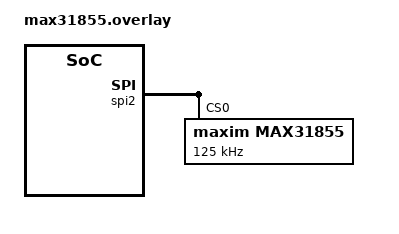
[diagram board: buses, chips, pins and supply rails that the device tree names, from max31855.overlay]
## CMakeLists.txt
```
# SPDX-License-Identifier: Apache-2.0

cmake_minimum_required(VERSION 3.13.1)

set(DTC_OVERLAY_FILE "${CMAKE_CURRENT_SOURCE_DIR}/max31855.overlay")

include($ENV{ZEPHYR_BASE}/cmake/app/boilerplate.cmake NO_POLICY_SCOPE)
project(max31855)

FILE(GLOB app_sources src/*.c)
target_sources(app PRIVATE ${app_sources})
```

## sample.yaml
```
sample:
  name: MAX31855 Sensor sample
tests:
  sample.sensor.max31855:
    harness: console
    tags: sensors
    depends_on: spi max31855
    harness_config:
        type: one_line
        regex:
            - "ambient temp: (.*) C; die temp: (.*) C"
```

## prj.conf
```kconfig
CONFIG_SPI=y
CONFIG_SENSOR=y
CONFIG_MAX31855=y
```

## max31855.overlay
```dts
/*
 * Copyright (c) 2020 Christian Hirsch
 *
 * SPDX-License-Identifier: Apache-2.0
 */

&spi2 {
	status = "okay";
	max31855@0 {
		compatible = "maxim,max31855";
		reg = <0>;
		label = "MAX31855";
		spi-max-frequency = <125000>;
	};
};
```

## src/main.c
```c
/*
 * Copyright (c) 2020 Christian Hirsch
 *
 * SPDX-License-Identifier: Apache-2.0
 */

#include <zephyr.h>
#include <device.h>
#include <drivers/sensor.h>

void main(void)
{
	struct device *dev;

	dev = device_get_binding(DT_INST_0_MAXIM_MAX31855_LABEL);
	if (dev == NULL) {
		printk("Cannot get device %s\n",
				DT_INST_0_MAXIM_MAX31855_LABEL);
		return;
	}

	printk("dev %p, name %s\n", dev, dev->config->name);
	sensor_sample_fetch(dev);

	while (1) {
		struct sensor_value ambient_temp, die_temp;

		sensor_sample_fetch(dev);
		sensor_channel_get(dev, SENSOR_CHAN_AMBIENT_TEMP,
				&ambient_temp);
		sensor_channel_get(dev, SENSOR_CHAN_DIE_TEMP,
				&die_temp);

		printk("ambient temp: %d.%06d C; die temp: %d.%06d C\n",
				ambient_temp.val1, ambient_temp.val2,
				die_temp.val1, die_temp.val2);

		k_sleep(K_MSEC(1000));
	}
}
```
